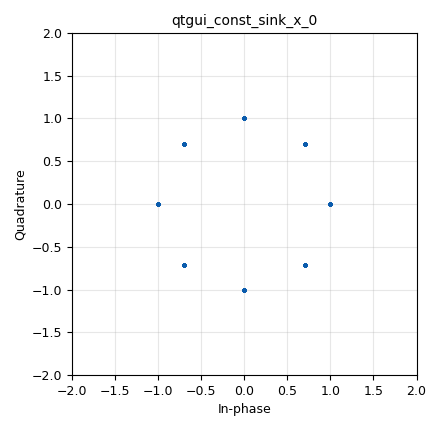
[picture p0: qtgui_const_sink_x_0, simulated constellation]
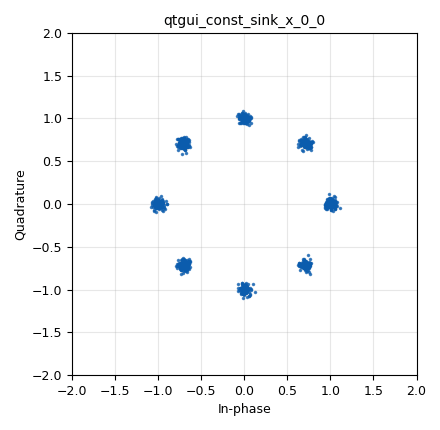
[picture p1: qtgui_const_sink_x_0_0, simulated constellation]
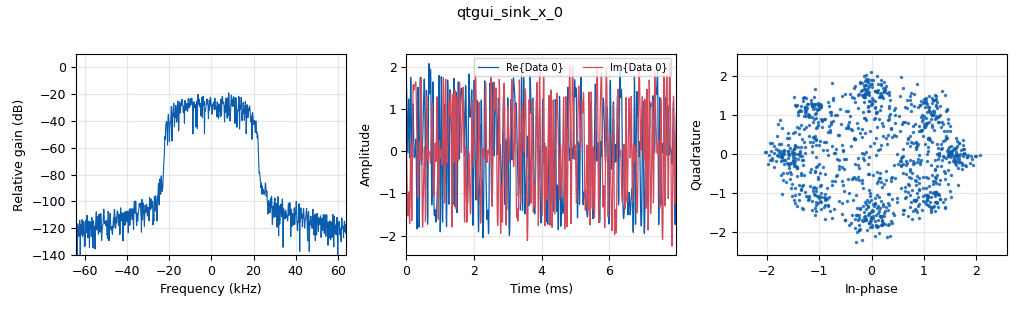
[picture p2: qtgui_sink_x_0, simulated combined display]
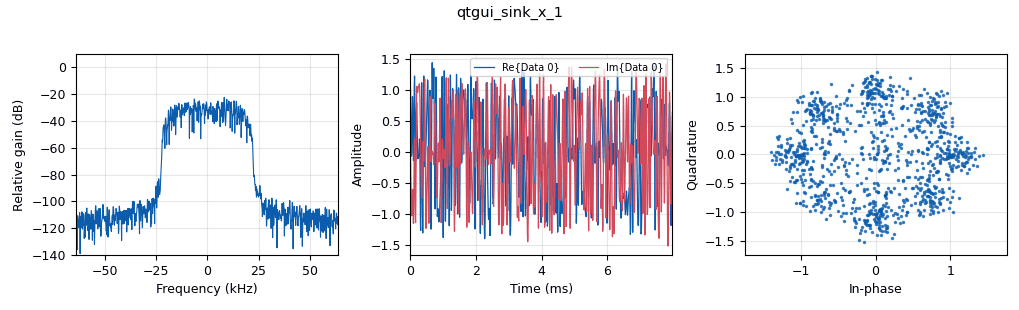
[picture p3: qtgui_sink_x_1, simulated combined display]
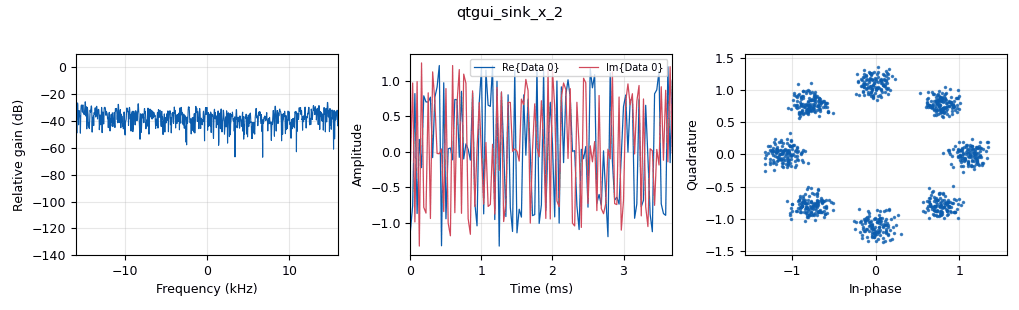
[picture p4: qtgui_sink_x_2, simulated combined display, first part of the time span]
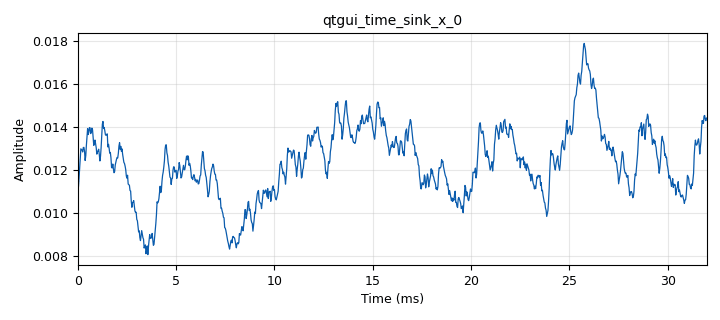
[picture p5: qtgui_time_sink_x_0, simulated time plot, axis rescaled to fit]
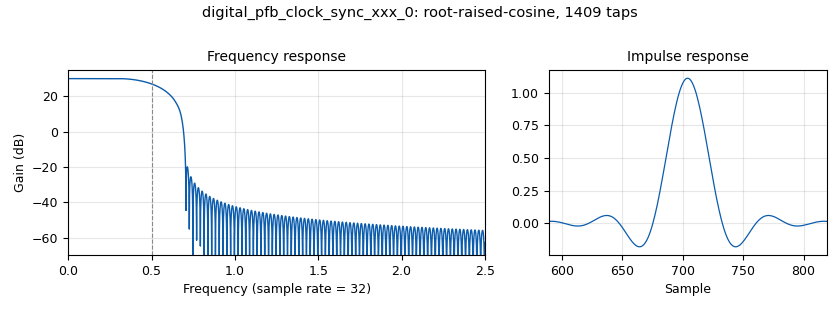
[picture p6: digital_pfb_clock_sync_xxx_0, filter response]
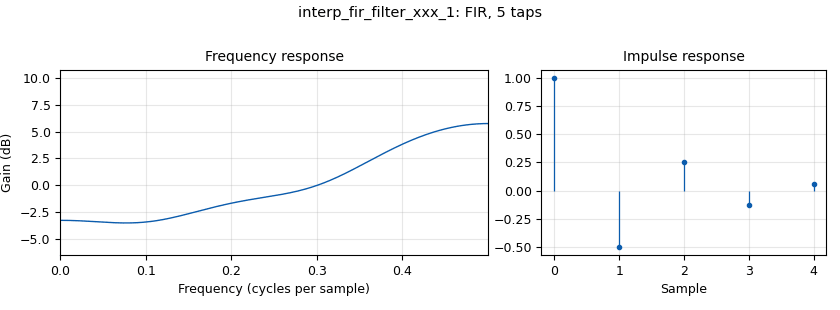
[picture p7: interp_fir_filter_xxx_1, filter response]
options:
  parameters:
    author: sumeet
    generate_options: qt_gui
    id: task2
    output_language: python
    title: Not titled yet
  states: {}

blocks:
- name: nfilts
  id: variable
  parameters:
    value: '32'
  states: {}
- name: ntaps
  id: variable
  parameters:
    value: 11*nfilts*sps
  states: {}
- name: rx_taps
  id: variable
  parameters:
    value: firdes.root_raised_cosine(nfilts, nfilts, 1.0, 0.4, ntaps)
  states: {}
- name: samp_rate
  id: variable
  parameters:
    value: '32000'
  states: {}
- name: sps
  id: variable
  parameters:
    value: '4'
  states: {}
- name: tap_0
  id: variable_qtgui_range
  parameters:
    start: '-1'
    step: '0.01'
    stop: '1'
    value: '-0.5'
  states: {}
- name: tap_1
  id: variable_qtgui_range
  parameters:
    start: '-1'
    step: '0.01'
    stop: '1'
    value: '0.25'
  states: {}
- name: tap_2
  id: variable_qtgui_range
  parameters:
    start: '-1'
    step: '0.01'
    stop: '1'
    value: '-0.125'
  states: {}
- name: tap_3
  id: variable_qtgui_range
  parameters:
    start: '-1'
    step: '0.01'
    stop: '1'
    value: '0.0625'
  states: {}
- name: timing_bw
  id: variable
  parameters:
    value: 2*pi/100
  states: {}
- name: tx_taps
  id: variable
  parameters:
    value: firdes.root_raised_cosine(nfilts, nfilts, 1.0, 0.4, ntaps)
  states: {}
- name: TAB
  id: qtgui_tab_widget
  parameters:
    label0: Constellation
    label1: Noise Added
    label2: Post Pulse Shaping
    label3: Post Multipath
    label4: Post Equalization
    num_tabs: '5'
  states: {}
- name: analog_noise_source_x_0
  id: analog_noise_source_x
  parameters:
    amp: '0.05'
    noise_type: analog.GR_GAUSSIAN
    seed: '0'
    type: complex
  states: {}
- name: analog_random_source_x_0
  id: analog_random_source_x
  parameters:
    max: '8'
    min: '0'
    num_samps: '1000'
    repeat: 'True'
    type: byte
  states: {}
- name: blocks_add_const_vxx_0
  id: blocks_add_const_vxx
  parameters:
    const: '-1'
    type: float
  states: {}
- name: blocks_add_xx_0
  id: blocks_add_xx
  parameters:
    type: complex
  states: {}
- name: blocks_add_xx_1
  id: blocks_add_xx
  parameters:
    type: complex
  states: {}
- name: blocks_complex_to_mag_squared_0
  id: blocks_complex_to_mag_squared
  parameters: {}
  states: {}
- name: blocks_delay_0
  id: blocks_delay
  parameters:
    delay: '1'
    type: complex
  states: {}
- name: blocks_multiply_const_vxx_0
  id: blocks_multiply_const_vxx
  parameters:
    const: '0.5'
    type: complex
  states: {}
- name: blocks_throttle_0_0
  id: blocks_throttle
  parameters:
    samples_per_second: samp_rate
    type: complex
  states: {}
- name: blocks_throttle_1
  id: blocks_throttle
  parameters:
    samples_per_second: samp_rate*4
    type: complex
  states: {}
- name: digital_chunks_to_symbols_xx_0
  id: digital_chunks_to_symbols_xx
  parameters:
    dimension: '1'
    in_type: byte
    out_type: complex
    symbol_table: ((1),0.707*(1+1j),(1j),0.707*(-1 + 1j),(-1),0.707*(-1 - 1j),(-1j),0.707*(1 - 1j))
  states: {}
- name: digital_pfb_clock_sync_xxx_0
  id: digital_pfb_clock_sync_xxx
  parameters:
    filter_size: nfilts
    init_phase: '16'
    loop_bw: timing_bw
    max_dev: '1.5'
    osps: '1'
    sps: sps
    taps: rx_taps
    type: ccf
  states: {}
- name: iir_filter_xxx_0
  id: iir_filter_xxx
  parameters:
    fbtaps: (1, 0.98)
    fftaps: '0.001'
    type: ffd
  states: {}
- name: import_0
  id: import
  parameters:
    imports: from math import pi
  states: {}
- name: import_0_0
  id: import
  parameters:
    imports: from gnuradio import digital
  states: {}
- name: import_0_0_0
  id: import
  parameters:
    imports: from gnuradio import filter
  states: {}
- name: interp_fir_filter_xxx_1
  id: interp_fir_filter_xxx
  parameters:
    interp: '1'
    taps: (1,tap_0,tap_1,tap_2,tap_3)
    type: ccc
  states: {}
- name: pfb_arb_resampler_xxx_0
  id: pfb_arb_resampler_xxx
  parameters:
    atten: '100'
    nfilts: '32'
    rrate: sps
    taps: tx_taps
    type: ccf
  states: {}
- name: qtgui_const_sink_x_0
  id: qtgui_const_sink_x
  parameters:
    gui_hint: TAB@0
    size: '1024'
    type: complex
  states: {}
- name: qtgui_const_sink_x_0_0
  id: qtgui_const_sink_x
  parameters:
    gui_hint: TAB@1
    size: '1024'
    type: complex
  states: {}
- name: qtgui_sink_x_0
  id: qtgui_sink_x
  parameters:
    bw: 4*samp_rate
    fc: '0'
    fftsize: '1024'
    gui_hint: TAB@3
    plotwaterfall: 'False'
    type: complex
  states: {}
- name: qtgui_sink_x_1
  id: qtgui_sink_x
  parameters:
    bw: samp_rate*4
    fc: '0'
    fftsize: '1024'
    gui_hint: TAB@2
    plotwaterfall: 'False'
    showports: 'True'
    type: complex
  states: {}
- name: qtgui_sink_x_2
  id: qtgui_sink_x
  parameters:
    bw: samp_rate
    fc: '0'
    fftsize: '1024'
    gui_hint: TAB@4
    plotwaterfall: 'False'
    type: complex
  states: {}
- name: qtgui_time_sink_x_0
  id: qtgui_time_sink_x
  parameters:
    size: '1024'
    srate: samp_rate
    type: float
  states: {}

connections:
- [analog_noise_source_x_0, '0', blocks_add_xx_1, '1']
- [analog_random_source_x_0, '0', digital_chunks_to_symbols_xx_0, '0']
- [blocks_add_const_vxx_0, '0', iir_filter_xxx_0, '0']
- [blocks_add_xx_0, '0', interp_fir_filter_xxx_1, '0']
- [blocks_add_xx_0, '0', qtgui_sink_x_0, '0']
- [blocks_add_xx_1, '0', pfb_arb_resampler_xxx_0, '0']
- [blocks_add_xx_1, '0', qtgui_const_sink_x_0_0, '0']
- [blocks_complex_to_mag_squared_0, '0', blocks_add_const_vxx_0, '0']
- [blocks_delay_0, '0', blocks_multiply_const_vxx_0, '0']
- [blocks_multiply_const_vxx_0, '0', blocks_add_xx_0, '1']
- [blocks_throttle_0_0, '0', qtgui_const_sink_x_0, '0']
- [blocks_throttle_1, '0', qtgui_sink_x_1, '0']
- [digital_chunks_to_symbols_xx_0, '0', blocks_add_xx_1, '0']
- [digital_chunks_to_symbols_xx_0, '0', blocks_throttle_0_0, '0']
- [digital_pfb_clock_sync_xxx_0, '0', blocks_complex_to_mag_squared_0, '0']
- [digital_pfb_clock_sync_xxx_0, '0', qtgui_sink_x_2, '0']
- [iir_filter_xxx_0, '0', qtgui_time_sink_x_0, '0']
- [interp_fir_filter_xxx_1, '0', digital_pfb_clock_sync_xxx_0, '0']
- [pfb_arb_resampler_xxx_0, '0', blocks_add_xx_0, '0']
- [pfb_arb_resampler_xxx_0, '0', blocks_delay_0, '0']
- [pfb_arb_resampler_xxx_0, '0', blocks_throttle_1, '0']

metadata:
  file_format: 1
